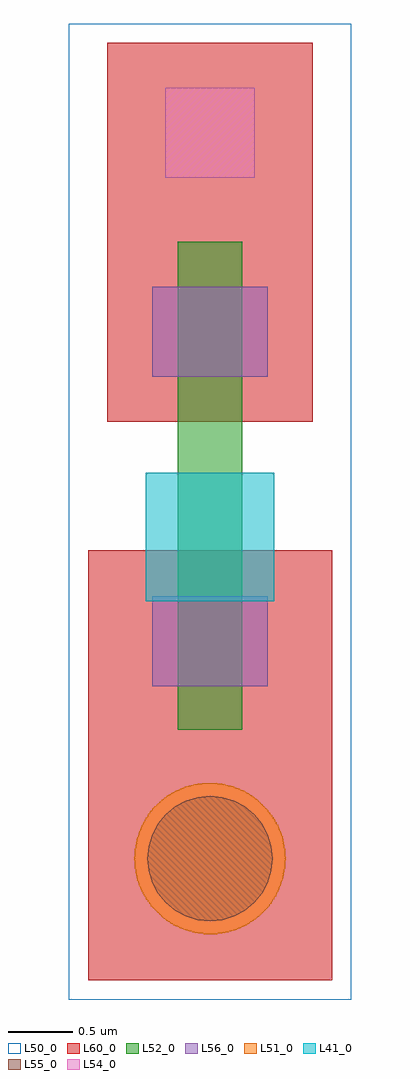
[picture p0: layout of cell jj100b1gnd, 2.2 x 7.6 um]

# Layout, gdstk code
import gdstk
lib = gdstk.Library(unit=1e-6, precision=1e-09)
def R(c, l, rs):  # rectangles x0, y0, x1, y1
    for r in rs: c.add(gdstk.rectangle(r[:2], r[2:], *l))
def P(c, l, *ps):  # polygons
    for p in ps: c.add(gdstk.Polygon(p, *l))
L41_0 = (41, 0)
L50_0 = (50, 0)
L51_0 = (51, 0)
L52_0 = (52, 0)
L54_0 = (54, 0)
L55_0 = (55, 0)
L56_0 = (56, 0)
L60_0 = (60, 0)

jj100b1gnd = lib.new_cell('jj100b1gnd')
R(jj100b1gnd, L41_0, [(-0.5,2,0.5,3)])
R(jj100b1gnd, L50_0, [(-1.1,-1.1,1.1,6.5)])
P(jj100b1gnd, L51_0, [(0,-0.59),(0.055,-0.59),(0.055,-0.585),(0.095,-0.585),(0.095,-0.58),(0.12,-0.58),(0.12,-0.575),(0.145,-0.575),(0.145,-0.57),(0.165,-0.57),(0.165,-0.565),(0.18,-0.565),(0.18,-0.56),(0.195,-0.56),(0.195,-0.555),(0.21,-0.555),(0.21,-0.55),(0.22,-0.55),(0.22,-0.545),(0.235,-0.545),(0.235,-0.54),(0.245,-0.54),(0.245,-0.535),(0.255,-0.535),(0.255,-0.53),(0.265,-0.53),(0.265,-0.525),(0.275,-0.525),(0.275,-0.52),(0.285,-0.52),(0.285,-0.515),(0.295,-0.515),(0.295,-0.51),(0.3,-0.51),(0.3,-0.505),(0.31,-0.505),(0.31,-0.5),(0.315,-0.5),(0.315,-0.495),(0.325,-0.495),(0.325,-0.49),(0.33,-0.49),(0.33,-0.485),(0.34,-0.485),(0.34,-0.48),(0.345,-0.48),(0.345,-0.475),(0.355,-0.475),(0.355,-0.47),(0.36,-0.47),(0.36,-0.465),(0.365,-0.465),(0.365,-0.46),(0.37,-0.46),(0.37,-0.455),(0.38,-0.455),(0.38,-0.45),(0.385,-0.45),(0.385,-0.445),(0.39,-0.445),(0.39,-0.44),(0.395,-0.44),(0.395,-0.435),(0.4,-0.435),(0.4,-0.43),(0.405,-0.43),(0.405,-0.425),(0.41,-0.425),(0.41,-0.42),(0.415,-0.42),(0.415,-0.415),(0.42,-0.415),(0.42,-0.41),(0.425,-0.41),(0.425,-0.405),(0.43,-0.405),(0.43,-0.4),(0.435,-0.4),(0.435,-0.395),(0.44,-0.395),(0.44,-0.39),(0.445,-0.39),(0.445,-0.385),(0.45,-0.385),(0.45,-0.38),(0.455,-0.38),(0.455,-0.375),(0.46,-0.375),(0.46,-0.37),(0.465,-0.37),(0.465,-0.365),(0.465,-0.355),(0.47,-0.355),(0.475,-0.355),(0.475,-0.35),(0.48,-0.35),(0.48,-0.345),(0.48,-0.335),(0.485,-0.335),(0.49,-0.335),(0.49,-0.33),(0.49,-0.32),(0.495,-0.32),(0.5,-0.32),(0.5,-0.315),(0.5,-0.305),(0.505,-0.305),(0.505,-0.295),(0.51,-0.295),(0.515,-0.295),(0.515,-0.29),(0.515,-0.28),(0.52,-0.28),(0.52,-0.27),(0.525,-0.27),(0.525,-0.26),(0.53,-0.26),(0.53,-0.25),(0.535,-0.25),(0.535,-0.24),(0.54,-0.24),(0.54,-0.225),(0.545,-0.225),(0.545,-0.215),(0.55,-0.215),(0.55,-0.2),(0.555,-0.2),(0.555,-0.185),(0.56,-0.185),(0.56,-0.17),(0.565,-0.17),(0.565,-0.155),(0.57,-0.155),(0.57,-0.135),(0.575,-0.135),(0.575,-0.11),(0.58,-0.11),(0.58,-0.08),(0.585,-0.08),(0.585,-0.015),(0.59,-0.015),(0.59,0.01),(0.585,0.01),(0.585,0.075),(0.58,0.075),(0.58,0.105),(0.575,0.105),(0.575,0.13),(0.57,0.13),(0.57,0.15),(0.565,0.15),(0.565,0.17),(0.56,0.17),(0.56,0.185),(0.555,0.185),(0.555,0.2),(0.55,0.2),(0.55,0.21),(0.545,0.21),(0.545,0.225),(0.54,0.225),(0.54,0.235),(0.535,0.235),(0.535,0.245),(0.53,0.245),(0.53,0.26),(0.525,0.26),(0.52,0.26),(0.52,0.265),(0.52,0.28),(0.515,0.28),(0.51,0.28),(0.51,0.285),(0.51,0.295),(0.505,0.295),(0.505,0.305),(0.5,0.305),(0.495,0.305),(0.495,0.31),(0.495,0.32),(0.49,0.32),(0.485,0.32),(0.485,0.325),(0.485,0.335),(0.48,0.335),(0.475,0.335),(0.475,0.34),(0.47,0.34),(0.47,0.345),(0.47,0.355),(0.465,0.355),(0.46,0.355),(0.46,0.36),(0.455,0.36),(0.455,0.365),(0.455,0.375),(0.45,0.375),(0.445,0.375),(0.445,0.38),(0.44,0.38),(0.44,0.385),(0.435,0.385),(0.435,0.39),(0.43,0.39),(0.43,0.395),(0.425,0.395),(0.425,0.4),(0.42,0.4),(0.42,0.405),(0.415,0.405),(0.415,0.41),(0.41,0.41),(0.41,0.415),(0.405,0.415),(0.405,0.42),(0.4,0.42),(0.4,0.425),(0.395,0.425),(0.395,0.43),(0.39,0.43),(0.39,0.435),(0.385,0.435),(0.385,0.44),(0.38,0.44),(0.38,0.445),(0.375,0.445),(0.375,0.45),(0.37,0.45),(0.37,0.455),(0.365,0.455),(0.365,0.46),(0.36,0.46),(0.36,0.465),(0.35,0.465),(0.35,0.47),(0.345,0.47),(0.345,0.475),(0.34,0.475),(0.34,0.48),(0.33,0.48),(0.33,0.485),(0.325,0.485),(0.325,0.49),(0.315,0.49),(0.315,0.495),(0.31,0.495),(0.31,0.5),(0.3,0.5),(0.3,0.505),(0.29,0.505),(0.29,0.51),(0.28,0.51),(0.28,0.515),(0.275,0.515),(0.275,0.52),(0.265,0.52),(0.265,0.525),(0.255,0.525),(0.255,0.53),(0.24,0.53),(0.24,0.535),(0.23,0.535),(0.23,0.54),(0.22,0.54),(0.22,0.545),(0.205,0.545),(0.205,0.55),(0.19,0.55),(0.19,0.555),(0.18,0.555),(0.18,0.56),(0.16,0.56),(0.16,0.565),(0.14,0.565),(0.14,0.57),(0.12,0.57),(0.12,0.575),(0.095,0.575),(0.095,0.58),(0.055,0.58),(0.055,0.585),(-0.06,0.585),(-0.06,0.58),(-0.095,0.58),(-0.095,0.575),(-0.125,0.575),(-0.125,0.57),(-0.145,0.57),(-0.145,0.565),(-0.165,0.565),(-0.165,0.56),(-0.18,0.56),(-0.18,0.555),(-0.195,0.555),(-0.195,0.55),(-0.21,0.55),(-0.21,0.545),(-0.22,0.545),(-0.22,0.54),(-0.23,0.54),(-0.23,0.535),(-0.245,0.535),(-0.245,0.53),(-0.255,0.53),(-0.255,0.525),(-0.265,0.525),(-0.265,0.52),(-0.275,0.52),(-0.275,0.515),(-0.285,0.515),(-0.285,0.51),(-0.295,0.51),(-0.295,0.505),(-0.3,0.505),(-0.3,0.5),(-0.31,0.5),(-0.31,0.495),(-0.32,0.495),(-0.32,0.49),(-0.325,0.49),(-0.325,0.485),(-0.335,0.485),(-0.335,0.48),(-0.34,0.48),(-0.34,0.475),(-0.345,0.475),(-0.345,0.47),(-0.355,0.47),(-0.355,0.465),(-0.36,0.465),(-0.36,0.46),(-0.365,0.46),(-0.365,0.455),(-0.375,0.455),(-0.375,0.45),(-0.38,0.45),(-0.38,0.445),(-0.385,0.445),(-0.385,0.44),(-0.39,0.44),(-0.39,0.435),(-0.395,0.435),(-0.395,0.43),(-0.4,0.43),(-0.4,0.425),(-0.405,0.425),(-0.405,0.42),(-0.41,0.42),(-0.41,0.415),(-0.415,0.415),(-0.415,0.41),(-0.42,0.41),(-0.42,0.405),(-0.43,0.405),(-0.43,0.4),(-0.435,0.4),(-0.435,0.395),(-0.44,0.395),(-0.44,0.39),(-0.445,0.39),(-0.445,0.385),(-0.45,0.385),(-0.45,0.38),(-0.45,0.37),(-0.455,0.37),(-0.46,0.37),(-0.46,0.365),(-0.465,0.365),(-0.465,0.36),(-0.47,0.36),(-0.47,0.355),(-0.47,0.345),(-0.475,0.345),(-0.48,0.345),(-0.48,0.34),(-0.485,0.34),(-0.485,0.335),(-0.485,0.325),(-0.49,0.325),(-0.49,0.315),(-0.495,0.315),(-0.5,0.315),(-0.5,0.31),(-0.5,0.3),(-0.505,0.3),(-0.51,0.3),(-0.51,0.295),(-0.51,0.285),(-0.515,0.285),(-0.515,0.275),(-0.52,0.275),(-0.52,0.265),(-0.525,0.265),(-0.525,0.255),(-0.53,0.255),(-0.53,0.245),(-0.535,0.245),(-0.535,0.235),(-0.54,0.235),(-0.54,0.225),(-0.545,0.225),(-0.545,0.21),(-0.55,0.21),(-0.55,0.2),(-0.555,0.2),(-0.555,0.18),(-0.56,0.18),(-0.56,0.165),(-0.565,0.165),(-0.565,0.15),(-0.57,0.15),(-0.57,0.13),(-0.575,0.13),(-0.575,0.105),(-0.58,0.105),(-0.58,0.075),(-0.585,0.075),(-0.585,0.01),(-0.59,0.01),(-0.59,-0.015),(-0.585,-0.015),(-0.585,-0.08),(-0.58,-0.08),(-0.58,-0.115),(-0.575,-0.115),(-0.575,-0.135),(-0.57,-0.135),(-0.57,-0.155),(-0.565,-0.155),(-0.565,-0.175),(-0.56,-0.175),(-0.56,-0.19),(-0.555,-0.19),(-0.555,-0.205),(-0.55,-0.205),(-0.55,-0.22),(-0.545,-0.22),(-0.545,-0.23),(-0.54,-0.23),(-0.54,-0.24),(-0.535,-0.24),(-0.535,-0.25),(-0.53,-0.25),(-0.53,-0.26),(-0.525,-0.26),(-0.525,-0.275),(-0.52,-0.275),(-0.515,-0.275),(-0.515,-0.28),(-0.515,-0.29),(-0.51,-0.29),(-0.51,-0.3),(-0.505,-0.3),(-0.5,-0.3),(-0.5,-0.305),(-0.5,-0.315),(-0.495,-0.315),(-0.495,-0.325),(-0.49,-0.325),(-0.485,-0.325),(-0.485,-0.33),(-0.485,-0.34),(-0.48,-0.34),(-0.475,-0.34),(-0.475,-0.345),(-0.475,-0.355),(-0.47,-0.355),(-0.465,-0.355),(-0.465,-0.36),(-0.46,-0.36),(-0.46,-0.365),(-0.46,-0.375),(-0.455,-0.375),(-0.45,-0.375),(-0.45,-0.38),(-0.445,-0.38),(-0.445,-0.385),(-0.44,-0.385),(-0.44,-0.39),(-0.435,-0.39),(-0.435,-0.395),(-0.43,-0.395),(-0.43,-0.4),(-0.425,-0.4),(-0.425,-0.405),(-0.42,-0.405),(-0.42,-0.41),(-0.415,-0.41),(-0.415,-0.415),(-0.41,-0.415),(-0.41,-0.42),(-0.405,-0.42),(-0.405,-0.425),(-0.4,-0.425),(-0.4,-0.43),(-0.395,-0.43),(-0.395,-0.435),(-0.39,-0.435),(-0.39,-0.44),(-0.385,-0.44),(-0.385,-0.445),(-0.38,-0.445),(-0.38,-0.45),(-0.375,-0.45),(-0.375,-0.455),(-0.37,-0.455),(-0.37,-0.46),(-0.365,-0.46),(-0.365,-0.465),(-0.36,-0.465),(-0.36,-0.47),(-0.35,-0.47),(-0.35,-0.475),(-0.345,-0.475),(-0.345,-0.48),(-0.34,-0.48),(-0.34,-0.485),(-0.33,-0.485),(-0.33,-0.49),(-0.325,-0.49),(-0.325,-0.495),(-0.315,-0.495),(-0.315,-0.5),(-0.31,-0.5),(-0.31,-0.505),(-0.3,-0.505),(-0.3,-0.51),(-0.29,-0.51),(-0.29,-0.515),(-0.285,-0.515),(-0.285,-0.52),(-0.27,-0.52),(-0.27,-0.525),(-0.265,-0.525),(-0.265,-0.53),(-0.25,-0.53),(-0.25,-0.535),(-0.24,-0.535),(-0.24,-0.54),(-0.23,-0.54),(-0.23,-0.545),(-0.22,-0.545),(-0.22,-0.55),(-0.205,-0.55),(-0.205,-0.555),(-0.19,-0.555),(-0.19,-0.56),(-0.175,-0.56),(-0.175,-0.565),(-0.16,-0.565),(-0.16,-0.57),(-0.14,-0.57),(-0.14,-0.575),(-0.12,-0.575),(-0.12,-0.58),(-0.09,-0.58),(-0.09,-0.585),(-0.05,-0.585),(-0.05,-0.59)])
R(jj100b1gnd, L52_0, [(-0.25,1,0.25,4.8)])
R(jj100b1gnd, L54_0, [(-0.35,5.3,0.35,6)])
P(jj100b1gnd, L55_0, [(0,-0.49),(0.095,-0.481),(0.187,-0.453),(0.271,-0.408),(0.345,-0.347),(0.405,-0.273),(0.451,-0.189),(0.478,-0.097),(0.488,-0.002),(0.478,0.093),(0.451,0.184),(0.405,0.269),(0.345,0.342),(0.271,0.403),(0.187,0.448),(0.095,0.476),(0,0.485),(-0.095,0.476),(-0.187,0.448),(-0.271,0.403),(-0.345,0.342),(-0.405,0.269),(-0.451,0.184),(-0.478,0.093),(-0.488,-0.002),(-0.478,-0.097),(-0.451,-0.189),(-0.405,-0.273),(-0.345,-0.347),(-0.271,-0.408),(-0.187,-0.453),(-0.095,-0.481)])
R(jj100b1gnd, L56_0, [(-0.45,1.34,0.45,2.04), (-0.45,3.75,0.45,4.45)])
R(jj100b1gnd, L60_0, [(-0.95,-0.95,0.95,2.4), (-0.8,3.4,0.8,6.35)])

lib.write_gds('jj100b1gnd.gds')
